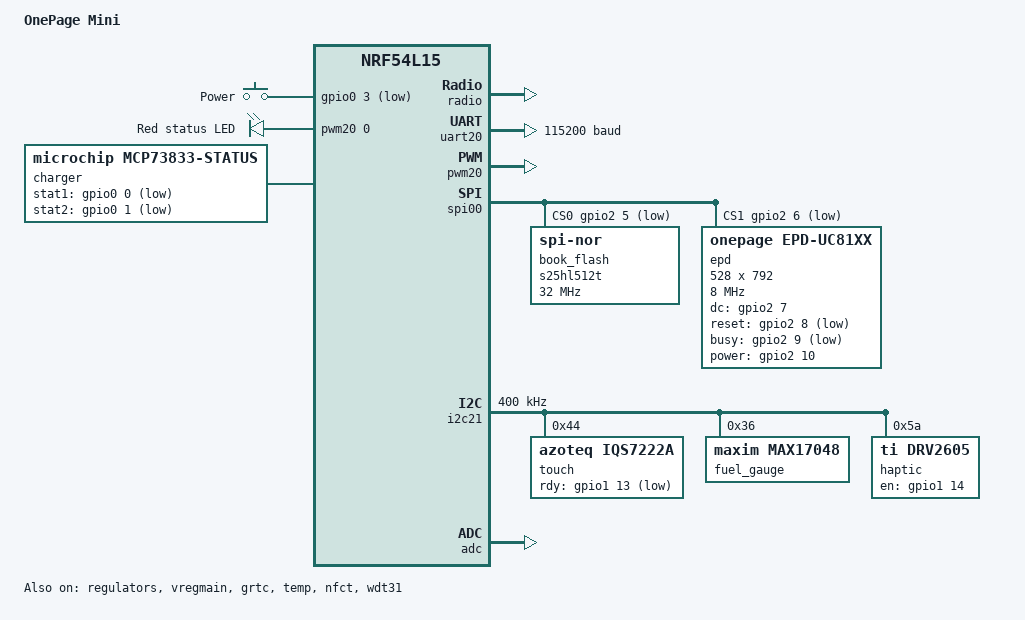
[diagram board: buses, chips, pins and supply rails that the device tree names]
/*
 * OnePage Mini, application core of the nRF54L15
 * (Raytac AN54LQ-15 module). Parts follow the component list; pins are
 * placeholders marked TODO(pcb).
 */
/dts-v1/;

#include <nordic/nrf54l15_cpuapp.dtsi>
#include <zephyr/dt-bindings/input/input-event-codes.h>
#include "onepage_mini_nrf54l15-pinctrl.dtsi"

/ {
	compatible = "onepage,onepage-mini";
	model = "OnePage Mini";

	chosen {
		zephyr,console = &uart20;
		zephyr,shell-uart = &uart20;
		zephyr,flash-controller = &rram_controller;
		zephyr,flash = &cpuapp_rram;
		zephyr,code-partition = &slot0_partition;
		zephyr,sram = &cpuapp_sram;
		onepage,display = &epd;
		onepage,touch = &touch;
		onepage,charger = &charger;
	};

	buttons {
		compatible = "gpio-keys";
		power_button: power_button {
			/* Side switch to ground. Wake-capable from System OFF. */
			gpios = <&gpio0 3 (GPIO_PULL_UP | GPIO_ACTIVE_LOW)>; /* TODO(pcb) */
			label = "Power";
			zephyr,code = <INPUT_KEY_POWER>;
		};
	};

	pwmleds {
		compatible = "pwm-leds";
		status_led: status_led {
			pwms = <&pwm20 0 PWM_MSEC(20) PWM_POLARITY_NORMAL>;
			label = "Red status LED";
		};
	};

	charger: charger {
		compatible = "microchip,mcp73833-status";
		stat1-gpios = <&gpio0 0 (GPIO_PULL_UP | GPIO_ACTIVE_LOW)>; /* TODO(pcb) */
		stat2-gpios = <&gpio0 1 (GPIO_PULL_UP | GPIO_ACTIVE_LOW)>; /* TODO(pcb) */
	};

	aliases {
		pwm-led0 = &status_led;
		sw0 = &power_button;
		watchdog0 = &wdt31;
	};
};

&cpuapp_sram {
	status = "okay";
};

&lfxo {
	load-capacitors = "internal";
	load-capacitance-femtofarad = <15000>; /* TODO(pcb): per module datasheet */
};

&hfxo {
	load-capacitors = "internal";
	load-capacitance-femtofarad = <15000>; /* TODO(pcb): per module datasheet */
};

&regulators {
	status = "okay";
};

&vregmain {
	status = "okay";
	regulator-initial-mode = <NRF5X_REG_MODE_DCDC>;
};

&grtc {
	owned-channels = <0 1 2 3 4 5 6 7 8 9 10 11>;
	child-owned-channels = <3 4 7 8 9 10 11>;
	status = "okay";
};

&clock { status = "okay"; };
&radio { status = "okay"; };
&temp { status = "okay"; };
&gpio0 { status = "okay"; };
&gpio1 { status = "okay"; };
&gpio2 { status = "okay"; };
&gpiote20 { status = "okay"; };
&gpiote30 { status = "okay"; };

&uart20 {
	status = "okay";
	current-speed = <115200>;
	pinctrl-0 = <&uart20_default>;
	pinctrl-1 = <&uart20_sleep>;
	pinctrl-names = "default", "sleep";
};

&pwm20 {
	status = "okay";
	pinctrl-0 = <&pwm20_default>;
	pinctrl-1 = <&pwm20_sleep>;
	pinctrl-names = "default", "sleep";
};

/* NFC antenna on the dedicated NFC1/NFC2 pins (P1.02, P1.03). */
&nfct {
	status = "okay";
};

&spi00 {
	status = "okay";
	cs-gpios = <&gpio2 5 GPIO_ACTIVE_LOW>,  /* NOR flash, TODO(pcb) */
		   <&gpio2 6 GPIO_ACTIVE_LOW>;  /* display, TODO(pcb) */
	pinctrl-0 = <&spi00_default>;
	pinctrl-1 = <&spi00_sleep>;
	pinctrl-names = "default", "sleep";

	/* Infineon S25HL512T, 512 Mbit (64 MB). Books only. */
	book_flash: s25hl512t@0 {
		compatible = "jedec,spi-nor";
		reg = <0>;
		spi-max-frequency = <32000000>;
		jedec-id = [34 2a 1a];
		size = <DT_SIZE_M(512)>; /* in bits */
		has-dpd;
		t-enter-dpd = <3000>;
		t-exit-dpd = <100000>; /* TODO(datasheet): tRES from S25HL512T sheet */
	};

	epd: epd@1 {
		compatible = "onepage,epd-uc81xx";
		reg = <1>;
		spi-max-frequency = <8000000>;
		width = <528>;
		height = <792>;
		dc-gpios = <&gpio2 7 GPIO_ACTIVE_HIGH>;    /* TODO(pcb) */
		reset-gpios = <&gpio2 8 GPIO_ACTIVE_LOW>;  /* TODO(pcb) */
		busy-gpios = <&gpio2 9 GPIO_ACTIVE_LOW>;   /* TODO(pcb) BUSY active-low */
		power-gpios = <&gpio2 10 GPIO_ACTIVE_HIGH>; /* TODO(pcb) load switch */
	};
};

&i2c21 {
	status = "okay";
	clock-frequency = <I2C_BITRATE_FAST>;
	pinctrl-0 = <&i2c21_default>;
	pinctrl-1 = <&i2c21_sleep>;
	pinctrl-names = "default", "sleep";

	touch: iqs7222a@44 {
		compatible = "azoteq,iqs7222a";
		reg = <0x44>;
		rdy-gpios = <&gpio1 13 (GPIO_ACTIVE_LOW | GPIO_PULL_UP)>; /* TODO(pcb) */
	};

	fuel_gauge: max17048@36 {
		compatible = "maxim,max17048";
		reg = <0x36>;
	};

	haptic: drv2605@5a {
		compatible = "ti,drv2605";
		reg = <0x5a>;
		actuator-mode = "LRA";
		en-gpios = <&gpio1 14 GPIO_ACTIVE_HIGH>; /* TODO(pcb) */
		vib-rated-mv = <2000>;    /* TODO(datasheet): LRA part not final */
		vib-overdrive-mv = <2500>;
	};
};

&adc {
	status = "okay";
};

/*
 * Internal RRAM layout without the Partition Manager. With sysbuild and
 * MCUboot (the normal build) the Partition Manager replaces this.
 */
&cpuapp_rram {
	partitions {
		compatible = "fixed-partitions";
		#address-cells = <1>;
		#size-cells = <1>;
		boot_partition: partition@0 {
			label = "mcuboot";
			reg = <0x0 DT_SIZE_K(64)>;
		};
		slot0_partition: partition@10000 {
			label = "image-0";
			reg = <0x10000 DT_SIZE_K(660)>;
		};
		slot1_partition: partition@b5000 {
			label = "image-1";
			reg = <0xb5000 DT_SIZE_K(660)>;
		};
		storage_partition: partition@15a000 {
			label = "storage";
			reg = <0x15a000 DT_SIZE_K(64)>;
		};
	};
};

/* The FLPR (RISC-V) core is not used: give its RAM and RRAM to the app core,
 * as Nordic samples do. The frame buffer alone needs 52 KB.
 */
&cpuapp_rram {
	reg = <0x0 DT_SIZE_K(1524)>;
};

&cpuapp_sram {
	reg = <0x20000000 DT_SIZE_K(256)>;
	ranges = <0x0 0x20000000 0x40000>;
};

&rram_controller {
	/delete-node/ cpuflpr_sram;
	/delete-node/ cpuflpr_rram;
};

/* Watchdog, fed by the application thread (review pass 5). */
&wdt31 { status = "okay"; };
